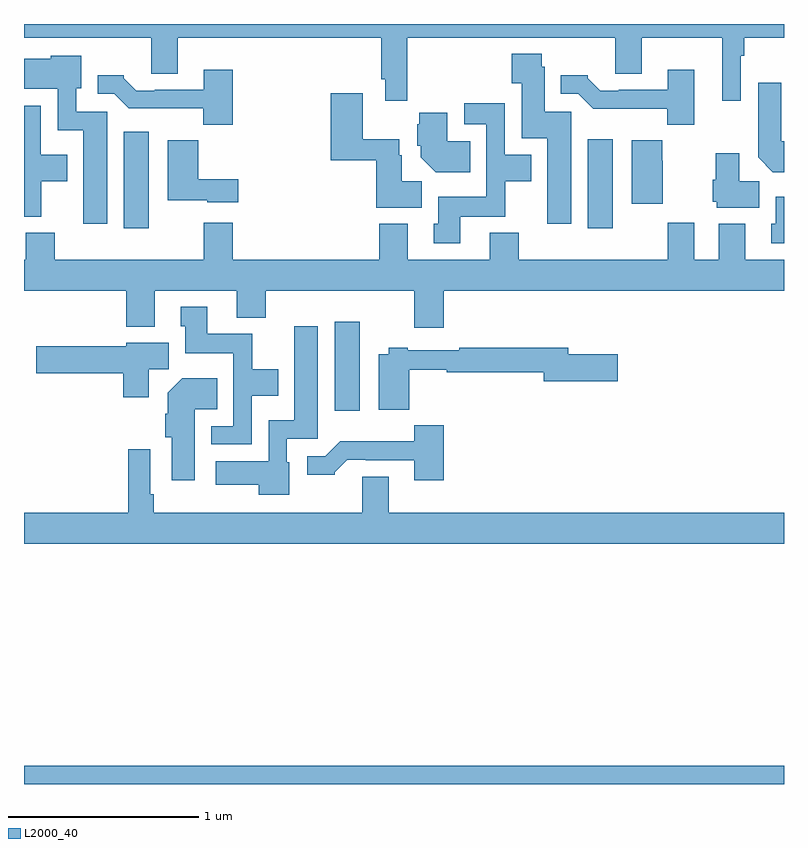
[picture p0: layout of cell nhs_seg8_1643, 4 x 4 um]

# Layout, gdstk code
import gdstk
lib = gdstk.Library(unit=1e-6, precision=1e-09)
def R(c, l, rs):  # rectangles x0, y0, x1, y1
    for r in rs: c.add(gdstk.rectangle(r[:2], r[2:], *l))
def P(c, l, *ps):  # polygons
    for p in ps: c.add(gdstk.Polygon(p, *l))
L2000_40 = (2000, 40)

nhs_seg8_1643 = lib.new_cell('nhs_seg8_1643')
R(nhs_seg8_1643, L2000_40, [(215,1117.9,219,1117.996), (216.635,1119.864,216.766,1120.333), (215.525,1120.824,215.656,1121.332), (217.967,1120.824,218.098,1121.293)])
P(nhs_seg8_1643, L2000_40, [(217.016,1121.828),(218.111,1121.828),(218.111,1121.638),(218.251,1121.638),(218.251,1121.828),(218.675,1121.828),(218.675,1121.496),(218.772,1121.496),(218.772,1121.732),(218.792,1121.732),(218.792,1121.828),(219,1121.828),(219,1121.9),(215,1121.9),(215,1121.828),(215.669,1121.828),(215.669,1121.638),(215.809,1121.638),(215.809,1121.828),(216.88,1121.828),(216.88,1121.608),(216.9,1121.608),(216.9,1121.496),(217.016,1121.496)],
  [(217.879,1121.439),(217.741,1121.439),(217.741,1121.676),(217.725,1121.676),(217.725,1121.743),(217.568,1121.743),(217.568,1121.587),(217.619,1121.587),(217.619,1121.3),(217.754,1121.3),(217.754,1120.848),(217.879,1120.848)],
  [(215.437,1121.439),(215.274,1121.439),(215.274,1121.562),(215.302,1121.562),(215.302,1121.734),(215.142,1121.734),(215.142,1121.716),(215,1121.716),(215,1121.558),(215.178,1121.558),(215.178,1121.342),(215.312,1121.342),(215.312,1120.848),(215.437,1120.848)],
  [(218.527,1121.659),(218.387,1121.659),(218.387,1121.553),(218.131,1121.553),(218.131,1121.55),(218.032,1121.55),(217.968,1121.614),(217.968,1121.629),(217.826,1121.629),(217.826,1121.532),(217.917,1121.532),(217.996,1121.454),(218.385,1121.454),(218.385,1121.369),(218.527,1121.369)],
  [(216.098,1121.659),(215.945,1121.659),(215.945,1121.553),(215.689,1121.553),(215.689,1121.55),(215.59,1121.55),(215.526,1121.614),(215.526,1121.629),(215.387,1121.629),(215.387,1121.532),(215.475,1121.532),(215.551,1121.456),(215.943,1121.456),(215.943,1121.369),(216.098,1121.369)],
  [(219,1121.284),(218.986,1121.284),(218.986,1121.59),(218.864,1121.59),(218.864,1121.198),(218.942,1121.12),(219,1121.12)],
  [(217.093,1121.072),(216.988,1121.072),(216.988,1121.208),(216.976,1121.208),(216.976,1121.293),(216.784,1121.293),(216.784,1121.536),(216.614,1121.536),(216.614,1121.183),(216.854,1121.183),(216.854,1120.934),(217.093,1120.934)],
  [(217.297,1120.886),(217.533,1120.886),(217.533,1121.072),(217.669,1121.072),(217.669,1121.212),(217.53,1121.212),(217.53,1121.482),(217.317,1121.482),(217.317,1121.373),(217.434,1121.373),(217.434,1120.99),(217.181,1120.99),(217.181,1120.848),(217.157,1120.848),(217.157,1120.746),(217.297,1120.746)],
  [(215.091,1121.072),(215.227,1121.072),(215.227,1121.212),(215.088,1121.212),(215.088,1121.469),(215,1121.469),(215,1120.886),(215.091,1120.886)],
  [(217.349,1121.284),(217.228,1121.284),(217.228,1121.434),(217.081,1121.434),(217.081,1121.373),(217.07,1121.373),(217.07,1121.259),(217.088,1121.259),(217.088,1121.198),(217.166,1121.12),(217.349,1121.12)],
  [(218.362,1121.18),(218.36,1121.18),(218.36,1121.287),(218.198,1121.287),(218.198,1120.953),(218.362,1120.953)],
  [(216.127,1121.083),(215.918,1121.083),(215.918,1121.287),(215.756,1121.287),(215.756,1120.973),(215.964,1120.973),(215.964,1120.961),(216.127,1120.961)],
  [(218.869,1121.072),(218.764,1121.072),(218.764,1121.221),(218.642,1121.221),(218.642,1121.079),(218.624,1121.079),(218.624,1120.965),(218.646,1120.965),(218.646,1120.934),(218.869,1120.934)],
  [(219,1120.99),(218.957,1120.99),(218.957,1120.848),(218.933,1120.848),(218.933,1120.746),(219,1120.746)],
  [(217.208,1120.496),(219,1120.496),(219,1120.66),(218.797,1120.66),(218.797,1120.849),(218.657,1120.849),(218.657,1120.66),(218.527,1120.66),(218.527,1120.855),(218.387,1120.855),(218.387,1120.66),(217.604,1120.66),(217.604,1120.801),(217.451,1120.801),(217.451,1120.66),(217.021,1120.66),(217.021,1120.849),(216.869,1120.849),(216.869,1120.66),(216.098,1120.66),(216.098,1120.855),(215.945,1120.855),(215.945,1120.66),(215.162,1120.66),(215.162,1120.801),(215.009,1120.801),(215.009,1120.66),(215,1120.66),(215,1120.496),(215.537,1120.496),(215.537,1120.307),(215.689,1120.307),(215.689,1120.496),(216.119,1120.496),(216.119,1120.355),(216.272,1120.355),(216.272,1120.496),(217.055,1120.496),(217.055,1120.302),(217.208,1120.302)],
  [(216.198,1119.944),(216.337,1119.944),(216.337,1120.084),(216.201,1120.084),(216.201,1120.27),(215.965,1120.27),(215.965,1120.411),(215.825,1120.411),(215.825,1120.308),(215.849,1120.308),(215.849,1120.166),(216.102,1120.166),(216.102,1119.783),(215.985,1119.783),(215.985,1119.687),(216.198,1119.687)],
  [(216.397,1119.594),(216.384,1119.594),(216.384,1119.717),(216.547,1119.717),(216.547,1120.309),(216.422,1120.309),(216.422,1119.814),(216.288,1119.814),(216.288,1119.598),(216.009,1119.598),(216.009,1119.476),(216.236,1119.476),(216.236,1119.422),(216.397,1119.422)],
  [(215.656,1120.084),(215.761,1120.084),(215.761,1120.222),(215.538,1120.222),(215.538,1120.203),(215.064,1120.203),(215.064,1120.061),(215.522,1120.061),(215.522,1119.936),(215.656,1119.936)],
  [(217.028,1120.081),(217.226,1120.081),(217.226,1120.066),(217.736,1120.066),(217.736,1120.019),(218.125,1120.019),(218.125,1120.161),(217.864,1120.161),(217.864,1120.195),(217.291,1120.195),(217.291,1120.182),(217.021,1120.182),(217.021,1120.195),(216.921,1120.195),(216.921,1120.162),(216.866,1120.162),(216.866,1119.869),(217.028,1119.869)],
  [(215.899,1119.872),(216.017,1119.872),(216.017,1120.036),(215.834,1120.036),(215.756,1119.958),(215.756,1119.848),(215.744,1119.848),(215.744,1119.726),(215.777,1119.726),(215.777,1119.498),(215.899,1119.498)],
  [(217.208,1119.787),(217.053,1119.787),(217.053,1119.703),(216.664,1119.703),(216.585,1119.624),(216.492,1119.624),(216.492,1119.527),(216.636,1119.527),(216.636,1119.542),(216.7,1119.606),(216.799,1119.606),(216.799,1119.603),(217.055,1119.603),(217.055,1119.498),(217.208,1119.498)],
  [(219,1119.328),(216.919,1119.328),(216.919,1119.518),(216.779,1119.518),(216.779,1119.328),(215.684,1119.328),(215.684,1119.424),(215.664,1119.424),(215.664,1119.661),(215.548,1119.661),(215.548,1119.328),(215,1119.328),(215,1119.164),(219,1119.164)])

lib.write_gds('nhs_seg8_1643.gds')
